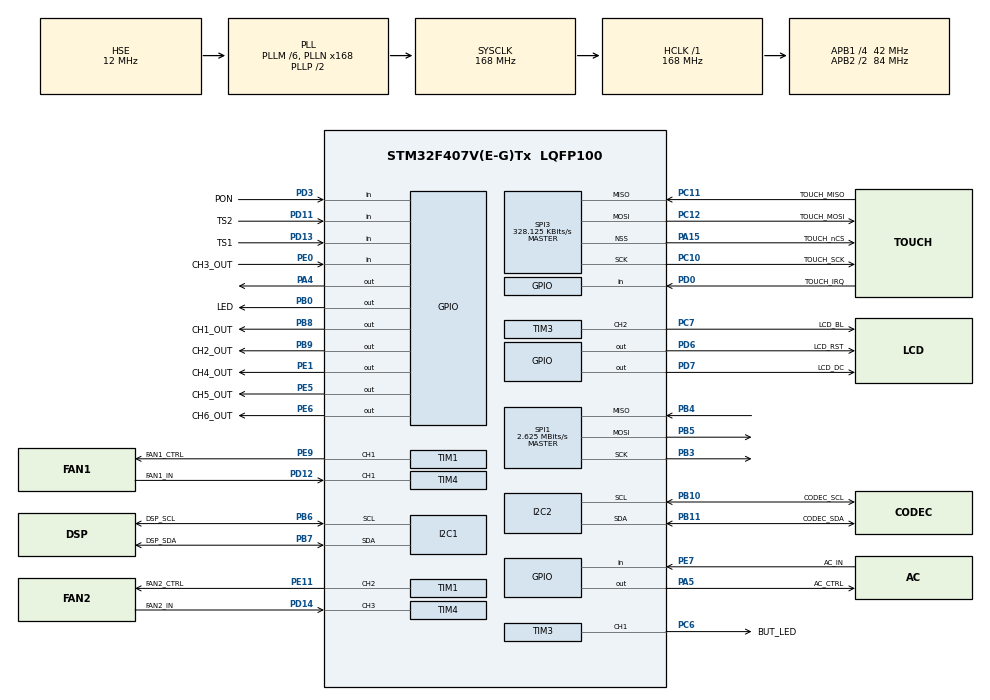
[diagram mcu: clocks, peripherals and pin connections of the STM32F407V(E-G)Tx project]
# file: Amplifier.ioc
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VP_TIM5_VS_ClockSourceINT.Mode=Internal
FREERTOS.Queues01=displayQueue,16,uint32_t,0,Dynamic,NULL,NULL
PD12.GPIO_Label=FAN1_IN
PH0-OSC_IN.Signal=RCC_OSC_IN
Dma.SPI1_TX.0.PeriphInc=DMA_PINC_DISABLE
SPI3.Direction=SPI_DIRECTION_2LINES
PC10.GPIO_PuPd=GPIO_PULLUP
SPI3.VirtualType=VM_MASTER
TIM4.Channel-Input_Capture3_from_TI3=TIM_CHANNEL_3
SPI1.VirtualType=VM_MASTER
PB10.Mode=I2C
PC12.Signal=SPI3_MOSI
PC6.GPIO_Label=BUT_LED
VP_RTC_VS_RTC_Activate.Mode=RTC_Enabled
PB6.GPIO_Label=DSP_SCL
PD6.GPIO_Label=LCD_RST
PB3.GPIO_Speed=GPIO_SPEED_FREQ_VERY_HIGH
PE6.GPIO_Label=CH6_OUT
RCC.SYSCLKSource=RCC_SYSCLKSOURCE_PLLCLK
PD7.GPIO_PuPd=GPIO_PULLUP
SPI1.Direction=SPI_DIRECTION_2LINES
SPI3.VirtualNSS=VM_NSSHARD
PE2.Mode=Trace_Synchro_2bits_SW
RCC.APB2TimFreq_Value=168000000
PB6.Signal=I2C1_SCL
PC7.Signal=S_TIM3_CH2
PB6.Mode=I2C
SPI1.CalculateBaudRate=2.625 MBits/s
PC3.Signal=ADCx_IN13
PD0.Signal=GPIO_Input
PE5.Signal=GPIO_Output
PE1.Signal=GPIO_Output
PB3.Mode=Full_Duplex_Master
TIM1.Channel-PWM\ Generation1\ CH1=TIM_CHANNEL_1
PE9.Signal=S_TIM1_CH1
PA5.GPIO_PuPd=GPIO_PULLDOWN
SPI1.DataSize=SPI_DATASIZE_8BIT
PE2.Signal=SYS_TRACECLK
VP_TIM1_VS_ClockSourceINT.Mode=Internal
Dma.SPI1_TX.0.Mode=DMA_NORMAL
Mcu.Package=LQFP100
PB9.Signal=GPIO_Output
NVIC.TimeBase=TIM1_UP_TIM10_IRQn
SPI3.Mode=SPI_MODE_MASTER
PD12.Signal=S_TIM4_CH1
NVIC.TimeBaseIP=TIM10
PC11.Mode=Full_Duplex_Master
PB5.GPIO_Speed=GPIO_SPEED_FREQ_VERY_HIGH
RCC.APB2CLKDivider=RCC_HCLK_DIV2
SH.S_TIM4_CH1.1=TIM4_CH1,Input_Capture2_from_TI1
SH.S_TIM4_CH1.0=TIM4_CH1,Input_Capture1_from_TI1
RCC.APB1TimFreq_Value=84000000
TIM1.Period=6700
PC12.GPIO_PuPd=GPIO_PULLUP
PD3.GPIO_PuPd=GPIO_PULLUP
PB5.GPIO_Mode=GPIO_MODE_AF_PP
FREERTOS.Tasks01=idleTask,24,128,idleTaskEntry,Default,NULL,Dynamic,NULL,NULL;buttonTask,24,512,buttonTaskEntry,Default,NULL,Dynamic,NULL,NULL;fanTask,24,512,fanTaskEntry,Default,NULL,Dynamic,NULL,NULL;displayTask,24,512,displayTaskEntry,Default,NULL,Dynamic,NULL,NULL;touchTask,24,128,touchTaskEntry,Default,NULL,Dynamic,NULL,NULL;dspTask,24,128,dspTaskEntry,Default,NULL,Dynamic,NULL,NULL;sensorATask,24,128,sensorATaskEntry,Default,NULL,Dynamic,NULL,NULL
PD3.Signal=GPIO_Input
PC6.Signal=S_TIM3_CH1
PC2.Signal=ADCx_IN12
PB11.GPIO_Label=CODEC_SDA
PD7.Signal=GPIO_Output
SPI1.CLKPhase=SPI_PHASE_1EDGE
RCC.APB1CLKDivider=RCC_HCLK_DIV4
TIM1.AutoReloadPreload=TIM_AUTORELOAD_PRELOAD_ENABLE
PB8.GPIO_Label=CH1_OUT
Dma.SPI1_TX.0.FIFOMode=DMA_FIFOMODE_DISABLE
VP_SYS_VS_tim10.Mode=TIM10
PB11.Mode=I2C
TIM1.Channel-PWM\ Generation2\ CH2=TIM_CHANNEL_2
PB4.GPIO_PuPd=GPIO_PULLUP
PE9.GPIO_Label=FAN1_CTRL
PB10.Signal=I2C2_SCL
PA5.Signal=GPIO_Output
PD7.PinState=GPIO_PIN_SET
PC12.Mode=Full_Duplex_Master
PE1.GPIO_Label=CH4_OUT
SPI1.Mode=SPI_MODE_MASTER
Dma.SPI1_TX.0.Instance=DMA2_Stream5
PB3.GPIO_Mode=GPIO_MODE_AF_PP
PA13.Mode=Trace_Synchro_2bits_SW
NVIC.TIM1_BRK_TIM9_IRQn=true\:5\:0\:false\:false\:true\:false\:false\:true
PC7.GPIO_Label=LCD_BL
PA4.Signal=GPIO_Output
PB5.Signal=SPI1_MOSI
PA5.GPIO_Label=AC_CTRL
PD11.Signal=GPIO_Input
PB5.GPIO_PuPd=GPIO_PULLUP
PE5.GPIO_Label=CH5_OUT
PC12.GPIO_Label=TOUCH_MOSI
ProjectManager.HeapSize=0x200
PD0.GPIO_PuPd=GPIO_PULLUP
NVIC.TIM1_UP_TIM10_IRQn=true\:0\:0\:false\:false\:true\:false\:true\:true
NVIC.PriorityGroup=NVIC_PRIORITYGROUP_4
TIM3.Channel-PWM\ Generation2\ CH2=TIM_CHANNEL_2
PE3.Signal=SYS_TRACED0
PC3.GPIO_Label=CH6
PB0.Signal=GPIO_Output
Mcu.Family=STM32F4
Dma.SPI1_TX.0.MemInc=DMA_MINC_ENABLE
RCC.CortexFreq_Value=168000000
PE11.GPIO_Label=FAN2_CTRL
PC10.Signal=SPI3_SCK
PD0.GPIO_Label=TOUCH_IRQ
PB0.GPIO_Label=LED
PB11.Signal=I2C2_SDA
ProjectManager.StackSize=0x400
VP_FREERTOS_VS_CMSIS_V2.Mode=CMSIS_V2
TIM4.Channel-Input_Capture1_from_TI1=TIM_CHANNEL_1
PD13.Signal=GPIO_Input
PA15.GPIO_Label=TOUCH_nCS
PC11.GPIO_PuPd=GPIO_PULLUP
SPI1.CLKPolarity=SPI_POLARITY_LOW
PB4.GPIO_Mode=GPIO_MODE_AF_PP
PD11.GPIO_Label=TS2
RCC.HCLKFreq_Value=168000000
RCC.HSICalibrationValue=8
RCC.AHBFreq_Value=168000000
PH0-OSC_IN.Mode=HSE-External-Oscillator
TIM3.Channel-PWM\ Generation1\ CH1=TIM_CHANNEL_1
RCC.HSE_VALUE=12000000
PA4.GPIO_PuPd=GPIO_PULLUP
PA15.Mode=NSS_Signal_Hard_Output
PA4.GPIO_Speed=GPIO_SPEED_FREQ_VERY_HIGH
PD7.GPIO_Speed=GPIO_SPEED_FREQ_VERY_HIGH
PB3.GPIO_PuPd=GPIO_PULLUP
PB4.Mode=Full_Duplex_Master
PA14.Mode=Trace_Synchro_2bits_SW
PB5.Mode=Full_Duplex_Master
PC11.GPIO_Label=TOUCH_MISO
PD6.PinState=GPIO_PIN_SET
PB7.Signal=I2C1_SDA
PE4.Mode=Trace_Synchro_2bits_SW
SH.S_TIM3_CH1.0=TIM3_CH1,PWM Generation1 CH1
PE4.Signal=SYS_TRACED1
PD7.GPIO_Label=LCD_DC
PB7.GPIO_Label=DSP_SDA
PH1-OSC_OUT.Mode=HSE-External-Oscillator
PD13.GPIO_Label=TS1
PA15.Signal=SPI3_NSS
PA4.GPIO_ModeDefaultOutputPP=GPIO_MODE_OUTPUT_PP
PE0.GPIO_Label=CH3_OUT
PD3.GPIO_Label=PON
PE7.Signal=GPIO_Input
PD6.Signal=GPIO_Output
Dma.Request0=SPI1_TX
SPI1.BaudRatePrescaler=SPI_BAUDRATEPRESCALER_32
PC2.GPIO_Label=CH5
PE3.Mode=Trace_Synchro_2bits_SW
PB4.Signal=SPI1_MISO
RCC.PLLSourceVirtual=RCC_PLLSOURCE_HSE
SH.ADCx_IN13.0=ADC3_IN13
PB9.GPIO_Label=CH2_OUT
PC10.GPIO_Label=TOUCH_SCK
PC11.Signal=SPI3_MISO
PC10.Mode=Full_Duplex_Master
TIM4.Channel-Input_Capture2_from_TI1=TIM_CHANNEL_2
TIM1.ClockDivision=TIM_CLOCKDIVISION_DIV4
PA13.Signal=SYS_JTMS-SWDIO
SH.ADCx_IN12.0=ADC3_IN12
TIM4.Channel-Input_Capture4_from_TI3=TIM_CHANNEL_4
SH.S_TIM1_CH1.0=TIM1_CH1,PWM Generation1 CH1
PA4.PinState=GPIO_PIN_SET
ProjectManager.TargetToolchain=STM32CubeIDE
PB10.GPIO_Label=CODEC_SCL
SH.S_TIM4_CH3.1=TIM4_CH3,Input_Capture4_from_TI3
SH.S_TIM4_CH3.0=TIM4_CH3,Input_Capture3_from_TI3
Dma.SPI1_TX.0.PeriphDataAlignment=DMA_PDATAALIGN_BYTE
Dma.SPI1_TX.0.Direction=DMA_MEMORY_TO_PERIPH
PE11.Signal=S_TIM1_CH2
RCC.LSE_VALUE=32768
SH.S_TIM3_CH2.0=TIM3_CH2,PWM Generation2 CH2
board=custom
RCC.VCOOutputFreq_Value=336000000
PB4.GPIO_Speed=GPIO_SPEED_FREQ_VERY_HIGH
RCC.APB2Freq_Value=84000000
SPI3.CalculateBaudRate=328.125 KBits/s
SH.S_TIM1_CH2.0=TIM1_CH2,PWM Generation2 CH2
NVIC.DMA2_Stream5_IRQn=true\:0\:0\:false\:false\:true\:false\:false\:true
SPI3.BaudRatePrescaler=SPI_BAUDRATEPRESCALER_128
PH1-OSC_OUT.Signal=RCC_OSC_OUT
PD14.GPIO_Label=FAN2_IN
PE6.Signal=GPIO_Output
Mcu.Name=STM32F407V(E-G)Tx
PE0.Signal=GPIO_Input
PE7.GPIO_Label=AC_IN
PD14.Signal=S_TIM4_CH3
RCC.48MHZClocksFreq_Value=48000000
PB3.Signal=SPI1_SCK
RCC.SYSCLKFreq_VALUE=168000000
TIM5.Prescaler=84-1
PB7.Mode=I2C
PA14.Signal=SYS_JTCK-SWCLK
Dma.SPI1_TX.0.Priority=DMA_PRIORITY_MEDIUM
Dma.SPI1_TX.0.MemDataAlignment=DMA_MDATAALIGN_BYTE
RCC.HSI_VALUE=16000000
RCC.PLLQ=7
RCC.PLLM=6
RCC.PLLN=168
PA15.GPIO_PuPd=GPIO_PULLUP
PB8.Signal=GPIO_Output
TIM5.Period=0xFFFF
RCC.APB1Freq_Value=42000000
PD7.GPIO_ModeDefaultOutputPP=GPIO_MODE_OUTPUT_PP
PD6.GPIO_PuPd=GPIO_PULLUP

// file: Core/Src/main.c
/* USER CODE BEGIN Header */
/**
  ******************************************************************************
  * @file           : main.c
  * @brief          : Main program body
  ******************************************************************************
  * @attention
  *
  * <h2><center>&copy; Copyright (c) 2021 STMicroelectronics.
  * All rights reserved.</center></h2>
  *
  * This software component is licensed by ST under BSD 3-Clause license,
  * the "License"; You may not use this file except in compliance with the
  * License. You may obtain a copy of the License at:
  *                        opensource.org/licenses/BSD-3-Clause
  *
  ******************************************************************************
  */
/* USER CODE END Header */
#include "main.h"
#include "cmsis_os.h"

I2C_HandleTypeDef hi2c1;
I2C_HandleTypeDef hi2c2;

RTC_HandleTypeDef hrtc;

SPI_HandleTypeDef hspi1;
SPI_HandleTypeDef hspi3;
DMA_HandleTypeDef hdma_spi1_tx;

TIM_HandleTypeDef htim1;
TIM_HandleTypeDef htim3;
TIM_HandleTypeDef htim4;
TIM_HandleTypeDef htim5;

/* Definitions for idleTask */
osThreadId_t idleTaskHandle;
const osThreadAttr_t idleTask_attributes = {
  .name = "idleTask",
  .stack_size = 128 * 4,
  .priority = (osPriority_t) osPriorityNormal,
};
/* Definitions for buttonTask */
osThreadId_t buttonTaskHandle;
const osThreadAttr_t buttonTask_attributes = {
  .name = "buttonTask",
  .stack_size = 512 * 4,
  .priority = (osPriority_t) osPriorityNormal,
};
/* Definitions for fanTask */
osThreadId_t fanTaskHandle;
const osThreadAttr_t fanTask_attributes = {
  .name = "fanTask",
  .stack_size = 512 * 4,
  .priority = (osPriority_t) osPriorityNormal,
};
/* Definitions for displayTask */
osThreadId_t displayTaskHandle;
const osThreadAttr_t displayTask_attributes = {
  .name = "displayTask",
  .stack_size = 512 * 4,
  .priority = (osPriority_t) osPriorityNormal,
};
/* Definitions for touchTask */
osThreadId_t touchTaskHandle;
const osThreadAttr_t touchTask_attributes = {
  .name = "touchTask",
  .stack_size = 128 * 4,
  .priority = (osPriority_t) osPriorityNormal,
};
/* Definitions for dspTask */
osThreadId_t dspTaskHandle;
const osThreadAttr_t dspTask_attributes = {
  .name = "dspTask",
  .stack_size = 128 * 4,
  .priority = (osPriority_t) osPriorityNormal,
};
/* Definitions for sensorATask */
osThreadId_t sensorATaskHandle;
const osThreadAttr_t sensorATask_attributes = {
  .name = "sensorATask",
  .stack_size = 128 * 4,
  .priority = (osPriority_t) osPriorityNormal,
};
/* Definitions for displayQueue */
osMessageQueueId_t displayQueueHandle;
const osMessageQueueAttr_t displayQueue_attributes = {
  .name = "displayQueue"
};

void SystemClock_Config(void);
static void MX_GPIO_Init(void);
static void MX_DMA_Init(void);
static void MX_I2C1_Init(void);
static void MX_I2C2_Init(void);
static void MX_RTC_Init(void);
static void MX_SPI1_Init(void);
static void MX_SPI3_Init(void);
static void MX_TIM1_Init(void);
static void MX_TIM3_Init(void);
static void MX_TIM4_Init(void);
static void MX_TIM5_Init(void);
void idleTaskEntry(void *argument);
void buttonTaskEntry(void *argument);
void fanTaskEntry(void *argument);
void displayTaskEntry(void *argument);
void touchTaskEntry(void *argument);
void dspTaskEntry(void *argument);
void sensorATaskEntry(void *argument);

int main(void)
{

  /* MCU Configuration--------------------------------------------------------*/

  /* Reset of all peripherals, Initializes the Flash interface and the Systick. */
  HAL_Init();

  /* Configure the system clock */
  SystemClock_Config();

  /* Initialize all configured peripherals */
  MX_GPIO_Init();
  MX_DMA_Init();
  MX_I2C1_Init();
  MX_I2C2_Init();
  MX_RTC_Init();
  MX_SPI1_Init();
  MX_SPI3_Init();
  MX_TIM1_Init();
  MX_TIM3_Init();
  MX_TIM4_Init();
  MX_TIM5_Init();

  /* Init scheduler */
  osKernelInitialize();

  /* Create the queue(s) */
  /* creation of displayQueue */
  displayQueueHandle = osMessageQueueNew (16, sizeof(uint32_t), &displayQueue_attributes);

  /* Create the thread(s) */
  /* creation of idleTask */
  idleTaskHandle = osThreadNew(idleTaskEntry, NULL, &idleTask_attributes);

  /* creation of buttonTask */
  buttonTaskHandle = osThreadNew(buttonTaskEntry, NULL, &buttonTask_attributes);

  /* creation of fanTask */
  fanTaskHandle = osThreadNew(fanTaskEntry, NULL, &fanTask_attributes);

  /* creation of displayTask */
  displayTaskHandle = osThreadNew(displayTaskEntry, NULL, &displayTask_attributes);

  /* creation of touchTask */
  touchTaskHandle = osThreadNew(touchTaskEntry, NULL, &touchTask_attributes);

  /* creation of dspTask */
  dspTaskHandle = osThreadNew(dspTaskEntry, NULL, &dspTask_attributes);

  /* creation of sensorATask */
  sensorATaskHandle = osThreadNew(sensorATaskEntry, NULL, &sensorATask_attributes);

  /* Start scheduler */
  osKernelStart();

  /* We should never get here as control is now taken by the scheduler */
  /* Infinite loop */
  while (1)
  {

  }
}

void SystemClock_Config(void)
{
  RCC_OscInitTypeDef RCC_OscInitStruct = {0};
  RCC_ClkInitTypeDef RCC_ClkInitStruct = {0};
  RCC_PeriphCLKInitTypeDef PeriphClkInitStruct = {0};

  /** Configure the main internal regulator output voltage
  */
  __HAL_RCC_PWR_CLK_ENABLE();
  __HAL_PWR_VOLTAGESCALING_CONFIG(PWR_REGULATOR_VOLTAGE_SCALE1);
  /** Initializes the RCC Oscillators according to the specified parameters
  * in the RCC_OscInitTypeDef structure.
  */
  RCC_OscInitStruct.OscillatorType = RCC_OSCILLATORTYPE_LSI|RCC_OSCILLATORTYPE_HSE;
  RCC_OscInitStruct.HSEState = RCC_HSE_ON;
  RCC_OscInitStruct.LSIState = RCC_LSI_ON;
  RCC_OscInitStruct.PLL.PLLState = RCC_PLL_ON;
  RCC_OscInitStruct.PLL.PLLSource = RCC_PLLSOURCE_HSE;
  RCC_OscInitStruct.PLL.PLLM = 6;
  RCC_OscInitStruct.PLL.PLLN = 168;
  RCC_OscInitStruct.PLL.PLLP = RCC_PLLP_DIV2;
  RCC_OscInitStruct.PLL.PLLQ = 7;
  if (HAL_RCC_OscConfig(&RCC_OscInitStruct) != HAL_OK)
  {
    Error_Handler();
  }
  /** Initializes the CPU, AHB and APB buses clocks
  */
  RCC_ClkInitStruct.ClockType = RCC_CLOCKTYPE_HCLK|RCC_CLOCKTYPE_SYSCLK
                              |RCC_CLOCKTYPE_PCLK1|RCC_CLOCKTYPE_PCLK2;
  RCC_ClkInitStruct.SYSCLKSource = RCC_SYSCLKSOURCE_PLLCLK;
  RCC_ClkInitStruct.AHBCLKDivider = RCC_SYSCLK_DIV1;
  RCC_ClkInitStruct.APB1CLKDivider = RCC_HCLK_DIV4;
  RCC_ClkInitStruct.APB2CLKDivider = RCC_HCLK_DIV2;

  if (HAL_RCC_ClockConfig(&RCC_ClkInitStruct, FLASH_LATENCY_5) != HAL_OK)
  {
    Error_Handler();
  }
  PeriphClkInitStruct.PeriphClockSelection = RCC_PERIPHCLK_RTC;
  PeriphClkInitStruct.RTCClockSelection = RCC_RTCCLKSOURCE_LSI;
  if (HAL_RCCEx_PeriphCLKConfig(&PeriphClkInitStruct) != HAL_OK)
  {
    Error_Handler();
  }
}

static void MX_I2C1_Init(void)
{

  hi2c1.Instance = I2C1;
  hi2c1.Init.ClockSpeed = 100000;
  hi2c1.Init.DutyCycle = I2C_DUTYCYCLE_2;
  hi2c1.Init.OwnAddress1 = 0;
  hi2c1.Init.AddressingMode = I2C_ADDRESSINGMODE_7BIT;
  hi2c1.Init.DualAddressMode = I2C_DUALADDRESS_DISABLE;
  hi2c1.Init.OwnAddress2 = 0;
  hi2c1.Init.GeneralCallMode = I2C_GENERALCALL_DISABLE;
  hi2c1.Init.NoStretchMode = I2C_NOSTRETCH_DISABLE;
  if (HAL_I2C_Init(&hi2c1) != HAL_OK)
  {
    Error_Handler();
  }

}

static void MX_I2C2_Init(void)
{

  hi2c2.Instance = I2C2;
  hi2c2.Init.ClockSpeed = 100000;
  hi2c2.Init.DutyCycle = I2C_DUTYCYCLE_2;
  hi2c2.Init.OwnAddress1 = 0;
  hi2c2.Init.AddressingMode = I2C_ADDRESSINGMODE_7BIT;
  hi2c2.Init.DualAddressMode = I2C_DUALADDRESS_DISABLE;
  hi2c2.Init.OwnAddress2 = 0;
  hi2c2.Init.GeneralCallMode = I2C_GENERALCALL_DISABLE;
  hi2c2.Init.NoStretchMode = I2C_NOSTRETCH_DISABLE;
  if (HAL_I2C_Init(&hi2c2) != HAL_OK)
  {
    Error_Handler();
  }

}

static void MX_RTC_Init(void)
{

  /** Initialize RTC Only
  */
  hrtc.Instance = RTC;
  hrtc.Init.HourFormat = RTC_HOURFORMAT_24;
  hrtc.Init.AsynchPrediv = 127;
  hrtc.Init.SynchPrediv = 255;
  hrtc.Init.OutPut = RTC_OUTPUT_DISABLE;
  hrtc.Init.OutPutPolarity = RTC_OUTPUT_POLARITY_HIGH;
  hrtc.Init.OutPutType = RTC_OUTPUT_TYPE_OPENDRAIN;
  if (HAL_RTC_Init(&hrtc) != HAL_OK)
  {
    Error_Handler();
  }

}

static void MX_SPI1_Init(void)
{

  /* SPI1 parameter configuration*/
  hspi1.Instance = SPI1;
  hspi1.Init.Mode = SPI_MODE_MASTER;
  hspi1.Init.Direction = SPI_DIRECTION_2LINES;
  hspi1.Init.DataSize = SPI_DATASIZE_8BIT;
  hspi1.Init.CLKPolarity = SPI_POLARITY_LOW;
  hspi1.Init.CLKPhase = SPI_PHASE_1EDGE;
  hspi1.Init.NSS = SPI_NSS_SOFT;
  hspi1.Init.BaudRatePrescaler = SPI_BAUDRATEPRESCALER_32;
  hspi1.Init.FirstBit = SPI_FIRSTBIT_MSB;
  hspi1.Init.TIMode = SPI_TIMODE_DISABLE;
  hspi1.Init.CRCCalculation = SPI_CRCCALCULATION_DISABLE;
  hspi1.Init.CRCPolynomial = 10;
  if (HAL_SPI_Init(&hspi1) != HAL_OK)
  {
    Error_Handler();
  }

}

static void MX_SPI3_Init(void)
{

  /* SPI3 parameter configuration*/
  hspi3.Instance = SPI3;
  hspi3.Init.Mode = SPI_MODE_MASTER;
  hspi3.Init.Direction = SPI_DIRECTION_2LINES;
  hspi3.Init.DataSize = SPI_DATASIZE_8BIT;
  hspi3.Init.CLKPolarity = SPI_POLARITY_LOW;
  hspi3.Init.CLKPhase = SPI_PHASE_1EDGE;
  hspi3.Init.NSS = SPI_NSS_HARD_OUTPUT;
  hspi3.Init.BaudRatePrescaler = SPI_BAUDRATEPRESCALER_128;
  hspi3.Init.FirstBit = SPI_FIRSTBIT_MSB;
  hspi3.Init.TIMode = SPI_TIMODE_DISABLE;
  hspi3.Init.CRCCalculation = SPI_CRCCALCULATION_DISABLE;
  hspi3.Init.CRCPolynomial = 10;
  if (HAL_SPI_Init(&hspi3) != HAL_OK)
  {
    Error_Handler();
  }

}

static void MX_TIM1_Init(void)
{

  TIM_ClockConfigTypeDef sClockSourceConfig = {0};
  TIM_MasterConfigTypeDef sMasterConfig = {0};
  TIM_OC_InitTypeDef sConfigOC = {0};
  TIM_BreakDeadTimeConfigTypeDef sBreakDeadTimeConfig = {0};

  htim1.Instance = TIM1;
  htim1.Init.Prescaler = 0;
  htim1.Init.CounterMode = TIM_COUNTERMODE_UP;
  htim1.Init.Period = 6700;
  htim1.Init.ClockDivision = TIM_CLOCKDIVISION_DIV4;
  htim1.Init.RepetitionCounter = 0;
  htim1.Init.AutoReloadPreload = TIM_AUTORELOAD_PRELOAD_ENABLE;
  if (HAL_TIM_Base_Init(&htim1) != HAL_OK)
  {
    Error_Handler();
  }
  sClockSourceConfig.ClockSource = TIM_CLOCKSOURCE_INTERNAL;
  if (HAL_TIM_ConfigClockSource(&htim1, &sClockSourceConfig) != HAL_OK)
  {
    Error_Handler();
  }
  if (HAL_TIM_PWM_Init(&htim1) != HAL_OK)
  {
    Error_Handler();
  }
  sMasterConfig.MasterOutputTrigger = TIM_TRGO_RESET;
  sMasterConfig.MasterSlaveMode = TIM_MASTERSLAVEMODE_DISABLE;
  if (HAL_TIMEx_MasterConfigSynchronization(&htim1, &sMasterConfig) != HAL_OK)
  {
    Error_Handler();
  }
  sConfigOC.OCMode = TIM_OCMODE_PWM1;
  sConfigOC.Pulse = 0;
  sConfigOC.OCPolarity = TIM_OCPOLARITY_HIGH;
  sConfigOC.OCNPolarity = TIM_OCNPOLARITY_HIGH;
  sConfigOC.OCFastMode = TIM_OCFAST_DISABLE;
  sConfigOC.OCIdleState = TIM_OCIDLESTATE_RESET;
  sConfigOC.OCNIdleState = TIM_OCNIDLESTATE_RESET;
  if (HAL_TIM_PWM_ConfigChannel(&htim1, &sConfigOC, TIM_CHANNEL_1) != HAL_OK)
  {
    Error_Handler();
  }
  if (HAL_TIM_PWM_ConfigChannel(&htim1, &sConfigOC, TIM_CHANNEL_2) != HAL_OK)
  {
    Error_Handler();
  }
  sBreakDeadTimeConfig.OffStateRunMode = TIM_OSSR_DISABLE;
  sBreakDeadTimeConfig.OffStateIDLEMode = TIM_OSSI_DISABLE;
  sBreakDeadTimeConfig.LockLevel = TIM_LOCKLEVEL_OFF;
  sBreakDeadTimeConfig.DeadTime = 0;
  sBreakDeadTimeConfig.BreakState = TIM_BREAK_DISABLE;
  sBreakDeadTimeConfig.BreakPolarity = TIM_BREAKPOLARITY_HIGH;
  sBreakDeadTimeConfig.AutomaticOutput = TIM_AUTOMATICOUTPUT_DISABLE;
  if (HAL_TIMEx_ConfigBreakDeadTime(&htim1, &sBreakDeadTimeConfig) != HAL_OK)
  {
    Error_Handler();
  }
  HAL_TIM_MspPostInit(&htim1);

}

static void MX_TIM3_Init(void)
{

  TIM_MasterConfigTypeDef sMasterConfig = {0};
  TIM_OC_InitTypeDef sConfigOC = {0};

  htim3.Instance = TIM3;
  htim3.Init.Prescaler = 0;
  htim3.Init.CounterMode = TIM_COUNTERMODE_UP;
  htim3.Init.Period = 65535;
  htim3.Init.ClockDivision = TIM_CLOCKDIVISION_DIV1;
  htim3.Init.AutoReloadPreload = TIM_AUTORELOAD_PRELOAD_DISABLE;
  if (HAL_TIM_PWM_Init(&htim3) != HAL_OK)
  {
    Error_Handler();
  }
  sMasterConfig.MasterOutputTrigger = TIM_TRGO_RESET;
  sMasterConfig.MasterSlaveMode = TIM_MASTERSLAVEMODE_DISABLE;
  if (HAL_TIMEx_MasterConfigSynchronization(&htim3, &sMasterConfig) != HAL_OK)
  {
    Error_Handler();
  }
  sConfigOC.OCMode = TIM_OCMODE_PWM1;
  sConfigOC.Pulse = 0;
  sConfigOC.OCPolarity = TIM_OCPOLARITY_HIGH;
  sConfigOC.OCFastMode = TIM_OCFAST_DISABLE;
  if (HAL_TIM_PWM_ConfigChannel(&htim3, &sConfigOC, TIM_CHANNEL_1) != HAL_OK)
  {
    Error_Handler();
  }
  if (HAL_TIM_PWM_ConfigChannel(&htim3, &sConfigOC, TIM_CHANNEL_2) != HAL_OK)
  {
    Error_Handler();
  }
  HAL_TIM_MspPostInit(&htim3);

}

static void MX_TIM4_Init(void)
{

  TIM_MasterConfigTypeDef sMasterConfig = {0};
  TIM_IC_InitTypeDef sConfigIC = {0};

  htim4.Instance = TIM4;
  htim4.Init.Prescaler = 0;
  htim4.Init.CounterMode = TIM_COUNTERMODE_UP;
  htim4.Init.Period = 65535;
  htim4.Init.ClockDivision = TIM_CLOCKDIVISION_DIV1;
  htim4.Init.AutoReloadPreload = TIM_AUTORELOAD_PRELOAD_DISABLE;
  if (HAL_TIM_IC_Init(&htim4) != HAL_OK)
  {
    Error_Handler();
  }
  sMasterConfig.MasterOutputTrigger = TIM_TRGO_RESET;
  sMasterConfig.MasterSlaveMode = TIM_MASTERSLAVEMODE_DISABLE;
  if (HAL_TIMEx_MasterConfigSynchronization(&htim4, &sMasterConfig) != HAL_OK)
  {
    Error_Handler();
  }
  sConfigIC.ICPolarity = TIM_INPUTCHANNELPOLARITY_RISING;
  sConfigIC.ICSelection = TIM_ICSELECTION_DIRECTTI;
  sConfigIC.ICPrescaler = TIM_ICPSC_DIV1;
  sConfigIC.ICFilter = 0;
  if (HAL_TIM_IC_ConfigChannel(&htim4, &sConfigIC, TIM_CHANNEL_1) != HAL_OK)
  {
    Error_Handler();
  }
  sConfigIC.ICSelection = TIM_ICSELECTION_INDIRECTTI;
  if (HAL_TIM_IC_ConfigChannel(&htim4, &sConfigIC, TIM_CHANNEL_2) != HAL_OK)
  {
    Error_Handler();
  }
  sConfigIC.ICSelection = TIM_ICSELECTION_DIRECTTI;
  if (HAL_TIM_IC_ConfigChannel(&htim4, &sConfigIC, TIM_CHANNEL_3) != HAL_OK)
  {
    Error_Handler();
  }
  sConfigIC.ICSelection = TIM_ICSELECTION_INDIRECTTI;
  if (HAL_TIM_IC_ConfigChannel(&htim4, &sConfigIC, TIM_CHANNEL_4) != HAL_OK)
  {
    Error_Handler();
  }

}

static void MX_TIM5_Init(void)
{

  TIM_ClockConfigTypeDef sClockSourceConfig = {0};
  TIM_MasterConfigTypeDef sMasterConfig = {0};

  htim5.Instance = TIM5;
  htim5.Init.Prescaler = 84-1;
  htim5.Init.CounterMode = TIM_COUNTERMODE_UP;
  htim5.Init.Period = 0xFFFF;
  htim5.Init.ClockDivision = TIM_CLOCKDIVISION_DIV1;
  htim5.Init.AutoReloadPreload = TIM_AUTORELOAD_PRELOAD_DISABLE;
  if (HAL_TIM_Base_Init(&htim5) != HAL_OK)
  {
    Error_Handler();
  }
  sClockSourceConfig.ClockSource = TIM_CLOCKSOURCE_INTERNAL;
  if (HAL_TIM_ConfigClockSource(&htim5, &sClockSourceConfig) != HAL_OK)
  {
    Error_Handler();
  }
  sMasterConfig.MasterOutputTrigger = TIM_TRGO_RESET;
  sMasterConfig.MasterSlaveMode = TIM_MASTERSLAVEMODE_DISABLE;
  if (HAL_TIMEx_MasterConfigSynchronization(&htim5, &sMasterConfig) != HAL_OK)
  {
    Error_Handler();
  }

}

static void MX_DMA_Init(void)
{

  /* DMA controller clock enable */
  __HAL_RCC_DMA2_CLK_ENABLE();

  /* DMA interrupt init */
  /* DMA2_Stream5_IRQn interrupt configuration */
  HAL_NVIC_SetPriority(DMA2_Stream5_IRQn, 0, 0);
  HAL_NVIC_EnableIRQ(DMA2_Stream5_IRQn);

}

static void MX_GPIO_Init(void)
{
  GPIO_InitTypeDef GPIO_InitStruct = {0};

  /* GPIO Ports Clock Enable */
  __HAL_RCC_GPIOE_CLK_ENABLE();
  __HAL_RCC_GPIOH_CLK_ENABLE();
  __HAL_RCC_GPIOC_CLK_ENABLE();
  __HAL_RCC_GPIOA_CLK_ENABLE();
  __HAL_RCC_GPIOB_CLK_ENABLE();
  __HAL_RCC_GPIOD_CLK_ENABLE();

  /*Configure GPIO pin Output Level */
  HAL_GPIO_WritePin(GPIOE, CH5_OUT_Pin|CH6_OUT_Pin|CH4_OUT_Pin, GPIO_PIN_RESET);

  /*Configure GPIO pin Output Level */
  HAL_GPIO_WritePin(GPIOA, GPIO_PIN_4, GPIO_PIN_SET);

  /*Configure GPIO pin Output Level */
  HAL_GPIO_WritePin(AC_CTRL_GPIO_Port, AC_CTRL_Pin, GPIO_PIN_RESET);

  /*Configure GPIO pin Output Level */
  HAL_GPIO_WritePin(GPIOB, LED_Pin|CH1_OUT_Pin|CH2_OUT_Pin, GPIO_PIN_RESET);

  /*Configure GPIO pin Output Level */
  HAL_GPIO_WritePin(GPIOD, LCD_RST_Pin|LCD_DC_Pin, GPIO_PIN_SET);

  /*Configure GPIO pins : CH5_OUT_Pin CH6_OUT_Pin CH4_OUT_Pin */
  GPIO_InitStruct.Pin = CH5_OUT_Pin|CH6_OUT_Pin|CH4_OUT_Pin;
  GPIO_InitStruct.Mode = GPIO_MODE_OUTPUT_PP;
  GPIO_InitStruct.Pull = GPIO_NOPULL;
  GPIO_InitStruct.Speed = GPIO_SPEED_FREQ_LOW;
  HAL_GPIO_Init(GPIOE, &GPIO_InitStruct);

  /*Configure GPIO pins : CH5_Pin CH6_Pin */
  GPIO_InitStruct.Pin = CH5_Pin|CH6_Pin;
  GPIO_InitStruct.Mode = GPIO_MODE_ANALOG;
  GPIO_InitStruct.Pull = GPIO_NOPULL;
  HAL_GPIO_Init(GPIOC, &GPIO_InitStruct);

  /*Configure GPIO pin : PA4 */
  GPIO_InitStruct.Pin = GPIO_PIN_4;
  GPIO_InitStruct.Mode = GPIO_MODE_OUTPUT_PP;
  GPIO_InitStruct.Pull = GPIO_PULLUP;
  GPIO_InitStruct.Speed = GPIO_SPEED_FREQ_VERY_HIGH;
  HAL_GPIO_Init(GPIOA, &GPIO_InitStruct);

  /*Configure GPIO pin : AC_CTRL_Pin */
  GPIO_InitStruct.Pin = AC_CTRL_Pin;
  GPIO_InitStruct.Mode = GPIO_MODE_OUTPUT_PP;
  GPIO_InitStruct.Pull = GPIO_PULLDOWN;
  GPIO_InitStruct.Speed = GPIO_SPEED_FREQ_LOW;
  HAL_GPIO_Init(AC_CTRL_GPIO_Port, &GPIO_InitStruct);

  /*Configure GPIO pins : LED_Pin CH1_OUT_Pin CH2_OUT_Pin */
  GPIO_InitStruct.Pin = LED_Pin|CH1_OUT_Pin|CH2_OUT_Pin;
  GPIO_InitStruct.Mode = GPIO_MODE_OUTPUT_PP;
  GPIO_InitStruct.Pull = GPIO_NOPULL;
  GPIO_InitStruct.Speed = GPIO_SPEED_FREQ_LOW;
  HAL_GPIO_Init(GPIOB, &GPIO_InitStruct);

  /*Configure GPIO pins : AC_IN_Pin CH3_OUT_Pin */
  GPIO_InitStruct.Pin = AC_IN_Pin|CH3_OUT_Pin;
  GPIO_InitStruct.Mode = GPIO_MODE_INPUT;
  GPIO_InitStruct.Pull = GPIO_NOPULL;
  HAL_GPIO_Init(GPIOE, &GPIO_InitStruct);

  /*Configure GPIO pins : TS2_Pin TS1_Pin */
  GPIO_InitStruct.Pin = TS2_Pin|TS1_Pin;
  GPIO_InitStruct.Mode = GPIO_MODE_INPUT;
  GPIO_InitStruct.Pull = GPIO_NOPULL;
  HAL_GPIO_Init(GPIOD, &GPIO_InitStruct);

  /*Configure GPIO pins : TOUCH_IRQ_Pin PON_Pin */
  GPIO_InitStruct.Pin = TOUCH_IRQ_Pin|PON_Pin;
  GPIO_InitStruct.Mode = GPIO_MODE_INPUT;
  GPIO_InitStruct.Pull = GPIO_PULLUP;
  HAL_GPIO_Init(GPIOD, &GPIO_InitStruct);

  /*Configure GPIO pin : LCD_RST_Pin */
  GPIO_InitStruct.Pin = LCD_RST_Pin;
  GPIO_InitStruct.Mode = GPIO_MODE_OUTPUT_PP;
  GPIO_InitStruct.Pull = GPIO_PULLUP;
  GPIO_InitStruct.Speed = GPIO_SPEED_FREQ_LOW;
  HAL_GPIO_Init(LCD_RST_GPIO_Port, &GPIO_InitStruct);

  /*Configure GPIO pin : LCD_DC_Pin */
  GPIO_InitStruct.Pin = LCD_DC_Pin;
  GPIO_InitStruct.Mode = GPIO_MODE_OUTPUT_PP;
  GPIO_InitStruct.Pull = GPIO_PULLUP;
  GPIO_InitStruct.Speed = GPIO_SPEED_FREQ_VERY_HIGH;
  HAL_GPIO_Init(LCD_DC_GPIO_Port, &GPIO_InitStruct);

}

void idleTaskEntry(void *argument)
{
  /* USER CODE BEGIN 5 */

  for(;;)
  {

    // Status LED blinking
    HAL_GPIO_WritePin(LED_GPIO_Port, LED_Pin, GPIO_PIN_SET);
    osDelay(100);
    HAL_GPIO_WritePin(LED_GPIO_Port, LED_Pin, GPIO_PIN_RESET);
   osDelay(100);
  }
  /* USER CODE END 5 */
}

void buttonTaskEntry(void *argument)
{
  /* USER CODE BEGIN buttonTaskEntry */

  TIM_OC_InitTypeDef sConfigOC = {0};

  // Set LED blinking
  sConfigOC.OCMode = TIM_OCMODE_PWM1;
  sConfigOC.Pulse = 0;
  sConfigOC.OCPolarity = TIM_OCPOLARITY_HIGH;
  sConfigOC.OCNPolarity = TIM_OCNPOLARITY_HIGH;
  sConfigOC.OCFastMode = TIM_OCFAST_DISABLE;
  sConfigOC.OCIdleState = TIM_OCIDLESTATE_RESET;
  sConfigOC.OCNIdleState = TIM_OCNIDLESTATE_RESET;

  HAL_TIM_PWM_ConfigChannel(&htim3, &sConfigOC, TIM_CHANNEL_1);
  HAL_TIM_PWM_Start(&htim3, TIM_CHANNEL_1);

  sConfigOC.Pulse = 65530;
  HAL_TIM_PWM_ConfigChannel(&htim3, &sConfigOC, TIM_CHANNEL_2);
  HAL_TIM_PWM_Start(&htim3, TIM_CHANNEL_2);

  /* Infinite loop */
  uint8_t led_level = 0;
  uint8_t state = 0; // STAND-BY
  uint32_t i = 0;

  for(;;)
  {
	switch (state){
	  // LED Blinking - Stand-by
	  case (0):
		led_level++;

	    HAL_TIM_PWM_Stop(&htim3, TIM_CHANNEL_1);
	    if (led_level > 127)
	    {
	      sConfigOC.Pulse = (255 - led_level) * 368;
	    }
	    else
	    {
	      sConfigOC.Pulse = led_level * 368;
	    }
		HAL_TIM_PWM_ConfigChannel(&htim3, &sConfigOC, TIM_CHANNEL_1);
		HAL_TIM_PWM_Start(&htim3, TIM_CHANNEL_1);

		if (HAL_GPIO_ReadPin(PON_GPIO_Port, PON_Pin) == GPIO_PIN_RESET)
		{
			osDelay(1000);
            state = 1;
			led_level = 0;

			// Wait for button release
			for (i = 0 ; i < 100 ; i++)
			{
			  osDelay(100);
			  if (HAL_GPIO_ReadPin(PON_GPIO_Port, PON_Pin) == GPIO_PIN_SET) break;
			}
		}
	    break;

	  // ON requested
	  case (1):
		state = 0;
	    // search zero crossing
	    for (i = 0 ; i < 100 ; i++)
	    {
     		if (HAL_GPIO_ReadPin(AC_IN_GPIO_Port, AC_IN_Pin) == GPIO_PIN_SET)
	   		{
     		    for (i = 0 ; i < 100000 ; i++)
     		    {
     	     		if (HAL_GPIO_ReadPin(AC_IN_GPIO_Port, AC_IN_Pin) == GPIO_PIN_RESET)
     		   		{
     	     			// Transition from high to low - close to zero crossing
     	     			HAL_GPIO_WritePin(AC_CTRL_GPIO_Port, AC_CTRL_Pin, GPIO_PIN_SET);
     	     			state = 2;

     	     		    HAL_TIM_PWM_Stop(&htim3, TIM_CHANNEL_1);
     	     		    HAL_TIM_PWM_Stop(&htim3, TIM_CHANNEL_2);
    	     		    sConfigOC.Pulse = 65535;
     	     			HAL_TIM_PWM_ConfigChannel(&htim3, &sConfigOC, TIM_CHANNEL_1);
     	     			HAL_TIM_PWM_ConfigChannel(&htim3, &sConfigOC, TIM_CHANNEL_2);
     	     			HAL_TIM_PWM_Start(&htim3, TIM_CHANNEL_1);
     	     			HAL_TIM_PWM_Start(&htim3, TIM_CHANNEL_2);
     	     			break;
     		   		}
     		    }
     		    if ((i == 100000) || (state = 2)) break;
            }
	    	osDelay(10);
	    }
		break;

	  // ON
	  case (2):
	    // Check for off request
		if (HAL_GPIO_ReadPin(PON_GPIO_Port, PON_Pin) == GPIO_PIN_RESET)
		{
		  state = 3;
		}

	    // Monitor system while is ON

		break;

	  // OFF requested
	  case (3):
  	    state = 0;
		// Switch off transformer
		HAL_GPIO_WritePin(AC_CTRL_GPIO_Port, AC_CTRL_Pin, GPIO_PIN_RESET);

		// Switch off LED and backlight
		HAL_TIM_PWM_Stop(&htim3, TIM_CHANNEL_1);
		HAL_TIM_PWM_Stop(&htim3, TIM_CHANNEL_2);
		sConfigOC.Pulse = 0;
		HAL_TIM_PWM_ConfigChannel(&htim3, &sConfigOC, TIM_CHANNEL_1);
		HAL_TIM_PWM_ConfigChannel(&htim3, &sConfigOC, TIM_CHANNEL_2);
		HAL_TIM_PWM_Start(&htim3, TIM_CHANNEL_1);
		HAL_TIM_PWM_Start(&htim3, TIM_CHANNEL_2);

		// Wait for button release
		for (i = 0 ; i < 100 ; i++)
		{
		  osDelay(100);
		  if (HAL_GPIO_ReadPin(PON_GPIO_Port, PON_Pin) == GPIO_PIN_SET) break;
		}

		break;

	}

    osDelay(10);
  }
  /* USER CODE END buttonTaskEntry */
}

void fanTaskEntry(void *argument)
{
  /* USER CODE BEGIN fanTaskEntry */

  /* Infinite loop */
  TIM_OC_InitTypeDef sConfigOC = {0};

  // Set FAN Low
  sConfigOC.OCMode = TIM_OCMODE_PWM1;
  sConfigOC.Pulse = 670;
  sConfigOC.OCPolarity = TIM_OCPOLARITY_HIGH;
  sConfigOC.OCNPolarity = TIM_OCNPOLARITY_HIGH;
  sConfigOC.OCFastMode = TIM_OCFAST_DISABLE;
  sConfigOC.OCIdleState = TIM_OCIDLESTATE_RESET;
  sConfigOC.OCNIdleState = TIM_OCNIDLESTATE_RESET;

  HAL_TIM_PWM_ConfigChannel(&htim1, &sConfigOC, TIM_CHANNEL_1);
  HAL_TIM_PWM_Start(&htim1, TIM_CHANNEL_1);

  HAL_TIM_PWM_ConfigChannel(&htim1, &sConfigOC, TIM_CHANNEL_2);
  HAL_TIM_PWM_Start(&htim1, TIM_CHANNEL_2);

  /* Infinite loop */
  for(;;)
  {
    //Read temperature A

	//Read temperature B

	//Set FAN A speed

	//Set Fan B speed

	osDelay(1000);

	// Check FAN A speed

	// Check FAN B speed

	osDelay(1000);
  }
  /* USER CODE END fanTaskEntry */
}

void displayTaskEntry(void *argument)
{
  /* USER CODE BEGIN displayTaskEntry */
  /* Infinite loop */
	StartDisplayTask(argument);
  for(;;)
  {
    osDelay(1000);
  }
  /* USER CODE END displayTaskEntry */
}

void touchTaskEntry(void *argument)
{
  /* USER CODE BEGIN touchTaskEntry */
  /* Infinite loop */
  for(;;)
  {
    osDelay(1000);
  }
  /* USER CODE END touchTaskEntry */
}

void dspTaskEntry(void *argument)
{
  /* USER CODE BEGIN dspTaskEntry */
  /* Infinite loop */
  for(;;)
  {
    osDelay(1000);
  }
  /* USER CODE END dspTaskEntry */
}

void sensorATaskEntry(void *argument)
{
  /* USER CODE BEGIN sensorATaskEntry */
  /* Infinite loop */

  Task_Ds18b20(argument);
//  for(;;)
//  {
//    osDelay(1);
//  }
  /* USER CODE END sensorATaskEntry */
}

 /**
  * @brief  Period elapsed callback in non blocking mode
  * @note   This function is called  when TIM10 interrupt took place, inside
  * HAL_TIM_IRQHandler(). It makes a direct call to HAL_IncTick() to increment
  * a global variable "uwTick" used as application time base.
  * @param  htim : TIM handle
  * @retval None
  */
void HAL_TIM_PeriodElapsedCallback(TIM_HandleTypeDef *htim)
{
  if (htim->Instance == TIM10) {
    HAL_IncTick();
  }
}

void Error_Handler(void)
{
  __disable_irq();
  while (1)
  {
  }
}

/************************ (C) COPYRIGHT STMicroelectronics *****END OF FILE****/
